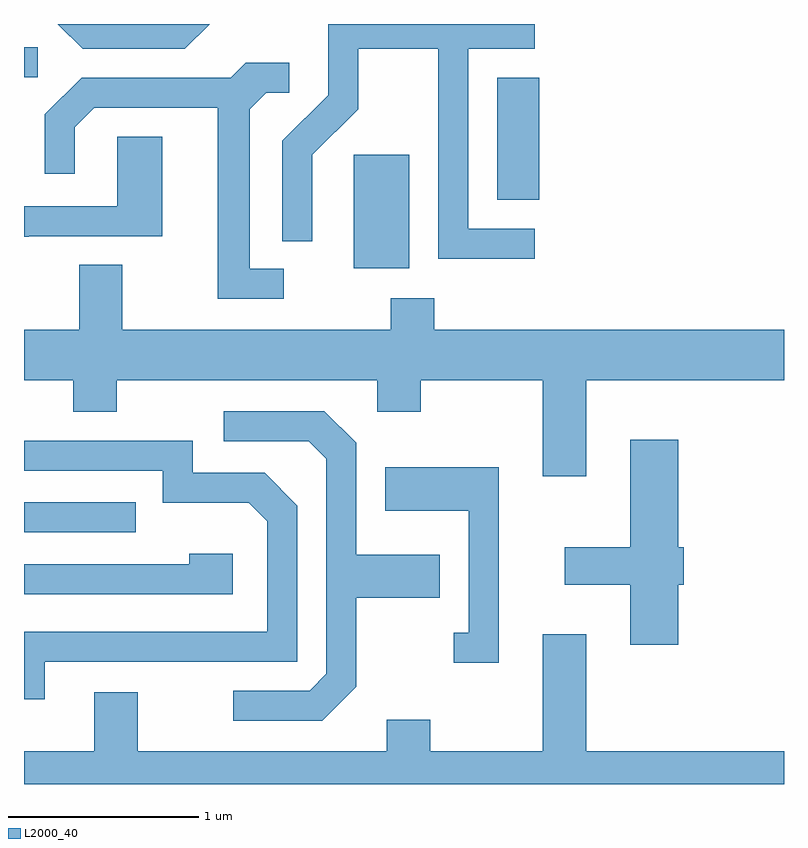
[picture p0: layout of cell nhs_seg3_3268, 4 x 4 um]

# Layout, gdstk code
import gdstk
lib = gdstk.Library(unit=1e-6, precision=1e-09)
def R(c, l, rs):  # rectangles x0, y0, x1, y1
    for r in rs: c.add(gdstk.rectangle(r[:2], r[2:], *l))
def P(c, l, *ps):  # polygons
    for p in ps: c.add(gdstk.Polygon(p, *l))
L2000_40 = (2000, 40)

nhs_seg3_3268 = lib.new_cell('nhs_seg3_3268')
R(nhs_seg3_3268, L2000_40, [(281.611,1125.216,282.198,1125.374), (283.346,1126.606,283.639,1127.204), (284.101,1126.966,284.324,1127.609), (281.611,1127.611,281.683,1127.769)])
P(nhs_seg3_3268, L2000_40, [(284.298,1126.814),(283.949,1126.814),(283.949,1127.761),(284.298,1127.761),(284.298,1127.892),(283.211,1127.892),(283.211,1127.517),(282.971,1127.277),(282.971,1126.748),(283.129,1126.748),(283.129,1127.204),(283.369,1127.444),(283.369,1127.761),(283.791,1127.761),(283.791,1126.656),(284.298,1126.656)],
  [(282.588,1127.892),(281.788,1127.892),(281.919,1127.761),(282.457,1127.761)],
  [(282.978,1126.604),(282.799,1126.604),(282.799,1127.444),(282.887,1127.531),(283.008,1127.531),(283.008,1127.689),(282.779,1127.689),(282.699,1127.609),(281.914,1127.609),(281.721,1127.417),(281.721,1127.103),(281.879,1127.103),(281.879,1127.349),(281.982,1127.451),(282.631,1127.451),(282.631,1126.446),(282.978,1126.446)],
  [(281.635,1126.776),(282.339,1126.776),(282.339,1127.299),(282.101,1127.299),(282.101,1126.934),(281.611,1126.934),(281.611,1126.771),(281.635,1126.771)],
  [(284.569,1126.016),(285.611,1126.016),(285.611,1126.284),(283.769,1126.284),(283.769,1126.449),(283.541,1126.449),(283.541,1126.284),(282.129,1126.284),(282.129,1126.624),(281.901,1126.624),(281.901,1126.284),(281.611,1126.284),(281.611,1126.016),(281.871,1126.016),(281.871,1125.851),(282.099,1125.851),(282.099,1126.016),(283.471,1126.016),(283.471,1125.851),(283.699,1125.851),(283.699,1126.016),(284.341,1126.016),(284.341,1125.511),(284.569,1125.511)],
  [(283.359,1124.404),(283.359,1124.871),(283.799,1124.871),(283.799,1125.099),(283.359,1125.099),(283.359,1125.687),(283.192,1125.854),(282.663,1125.854),(282.663,1125.696),(283.109,1125.696),(283.201,1125.604),(283.201,1124.472),(283.114,1124.384),(282.713,1124.384),(282.713,1124.226),(283.182,1124.226)],
  [(285.054,1124.941),(285.084,1124.941),(285.084,1125.139),(285.054,1125.139),(285.054,1125.704),(284.801,1125.704),(284.801,1125.139),(284.456,1125.139),(284.456,1124.941),(284.801,1124.941),(284.801,1124.626),(285.054,1124.626)],
  [(281.719,1124.536),(283.049,1124.536),(283.049,1125.357),(282.877,1125.529),(282.499,1125.529),(282.499,1125.699),(281.611,1125.699),(281.611,1125.541),(282.341,1125.541),(282.341,1125.371),(282.794,1125.371),(282.891,1125.274),(282.891,1124.694),(281.611,1124.694),(281.611,1124.338),(281.719,1124.338)],
  [(284.109,1125.559),(283.511,1125.559),(283.511,1125.331),(283.951,1125.331),(283.951,1124.689),(283.873,1124.689),(283.873,1124.531),(284.109,1124.531)],
  [(282.709,1125.104),(282.481,1125.104),(282.481,1125.049),(281.611,1125.049),(281.611,1124.891),(282.709,1124.891)],
  [(285.611,1124.064),(284.569,1124.064),(284.569,1124.679),(284.341,1124.679),(284.341,1124.064),(283.749,1124.064),(283.749,1124.229),(283.521,1124.229),(283.521,1124.064),(282.209,1124.064),(282.209,1124.374),(281.981,1124.374),(281.981,1124.064),(281.611,1124.064),(281.611,1123.892),(285.611,1123.892)])

lib.write_gds('nhs_seg3_3268.gds')
